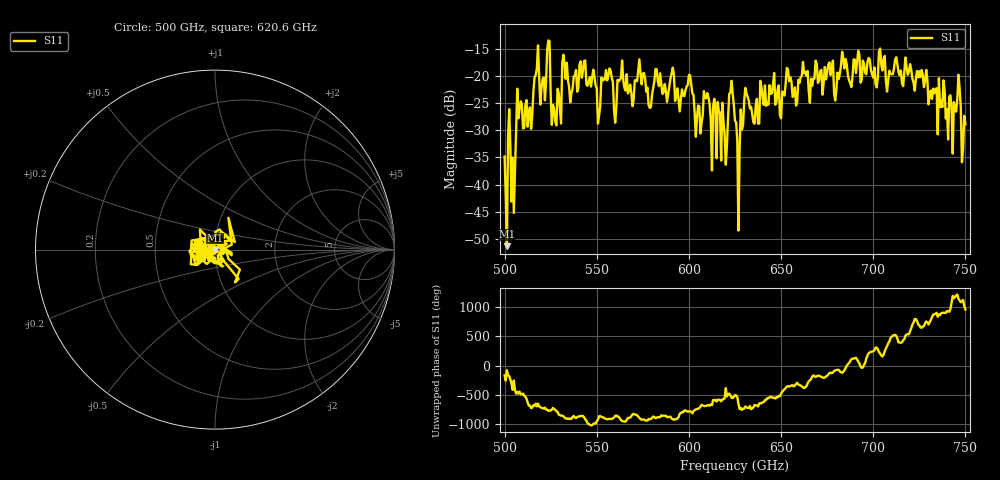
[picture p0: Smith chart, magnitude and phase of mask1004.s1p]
!Created with skrf (http://scikit-rf.org).
# GHz S MA R 50.0
!freq magS11 angS11
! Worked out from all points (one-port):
!   401 points, 500 GHz to 750 GHz, reference 50 ohm
!   lowest |S11| = -51.4 dB at 501.2 GHz (marker M1), VSWR 1.01, Z = 50 - j0.266 ohm
!   |S11| at or under -10 dB: start of sweep to end of sweep
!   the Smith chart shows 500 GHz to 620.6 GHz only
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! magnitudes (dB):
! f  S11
! 500 GHz  -34.8
! 501.2 GHz  -51.4
! 503.1 GHz  -33.0
! 504.4 GHz  -35.0
! 507.5 GHz  -27.8
! 513.8 GHz  -25.7
! 517.5 GHz  -18.6
! 520.6 GHz  -20.5
! 523.8 GHz  -13.4
! 526.9 GHz  -26.1
! 531.2 GHz  -17.7
! 542.5 GHz  -19.0
! 550.6 GHz  -28.8
! 562.5 GHz  -20.7
! 593.8 GHz  -22.2
! 600 GHz  -19.8
! 605 GHz  -25.4
! 618.8 GHz  -28.4
! 623.1 GHz  -20.8
! 625 GHz  -28.3
! 627.5 GHz  -33.6
! 631.2 GHz  -23.2
! 656.2 GHz  -23.8
! 687.5 GHz  -21.2
! 718.8 GHz  -19.7
! 741.9 GHz  -23.5
! 746.2 GHz  -19.7
! 750 GHz  -28.9
